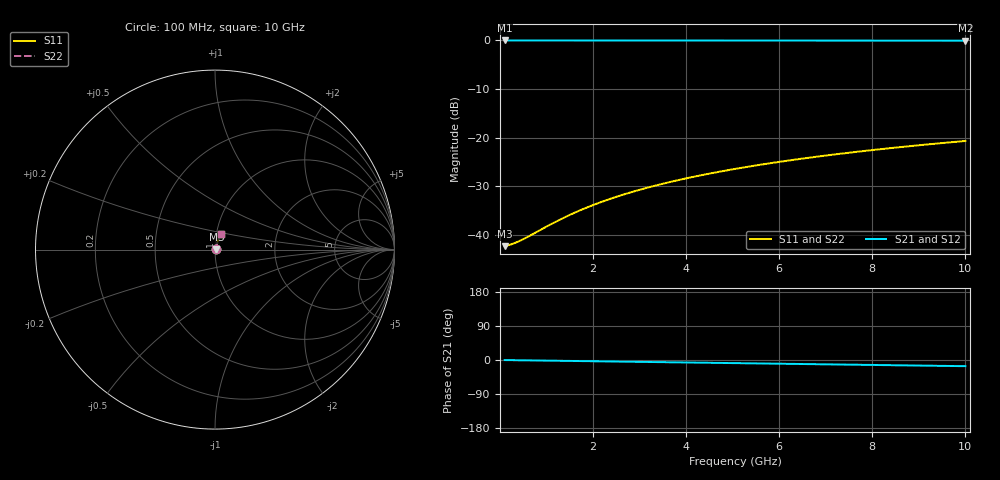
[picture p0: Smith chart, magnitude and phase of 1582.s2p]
# Hz S RI R 50.00
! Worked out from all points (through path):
!   100 points, 100 MHz to 10 GHz, reference 50 ohm
!   highest |S21| = -0.07 dB at 100 MHz (marker M1); lowest = -0.1 dB at 10 GHz (marker M2)
!   group delay of S21, straight-line fit = 4.53 ps
!   lowest |S11| = -42.2 dB at 100 MHz (marker M3), VSWR 1.02, Z = 50.8 + j0.093 ohm
!   |S11| at or under -10 dB: start of sweep to end of sweep
!   |S22| runs from -42.2 to -20.7 dB; largest |S21 - S12| = 0
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1e8  0.00767 0.000916  0.9923 -0.00283  0.9923 -0.00283  0.00767 0.000916
2e8  0.00773 0.00183  0.9923 -0.00566  0.9923 -0.00566  0.00773 0.00183
3e8  0.00778 0.00275  0.9922 -0.00849  0.9922 -0.00849  0.00778 0.00275
4e8  0.00782 0.00366  0.9921 -0.0113  0.9921 -0.0113  0.00782 0.00366
6e8  0.00792 0.00549  0.992 -0.017  0.992 -0.017  0.00792 0.00549
1e9  0.00816 0.00914  0.9916 -0.0283  0.9916 -0.0283  0.00816 0.00914
1.3e9  0.00838 0.0119  0.9913 -0.0368  0.9913 -0.0368  0.00838 0.0119
1.5e9  0.00855 0.0137  0.991 -0.0424  0.991 -0.0424  0.00855 0.0137
1.8e9  0.00885 0.0164  0.9905 -0.0509  0.9905 -0.0509  0.00885 0.0164
2.1e9  0.00918 0.0192  0.99 -0.0594  0.99 -0.0594  0.00918 0.0192
2.5e9  0.0097 0.0228  0.9891 -0.0707  0.9891 -0.0707  0.0097 0.0228
2.9e9  0.0103 0.0264  0.9881 -0.0819  0.9881 -0.0819  0.0103 0.0264
3.4e9  0.0111 0.0309  0.9867 -0.096  0.9867 -0.096  0.0111 0.0309
3.8e9  0.0119 0.0344  0.9853 -0.1072  0.9853 -0.1072  0.0119 0.0344
4.2e9  0.0128 0.038  0.9839 -0.1184  0.9839 -0.1184  0.0128 0.038
4.6e9  0.0137 0.0415  0.9823 -0.1296  0.9823 -0.1296  0.0137 0.0415
5.1e9  0.015 0.0459  0.9801 -0.1435  0.9801 -0.1435  0.015 0.0459
5.9e9  0.0173 0.0528  0.9762 -0.1657  0.9762 -0.1657  0.0173 0.0528
6.7e9  0.0199 0.0596  0.9717 -0.1878  0.9717 -0.1878  0.0199 0.0596
7.5e9  0.0229 0.0663  0.9666 -0.2097  0.9666 -0.2097  0.0229 0.0663
8.4e9  0.0265 0.0736  0.9603 -0.2342  0.9603 -0.2342  0.0265 0.0736
1e10  0.0339 0.0861  0.9474 -0.2772  0.9474 -0.2772  0.0339 0.0861
